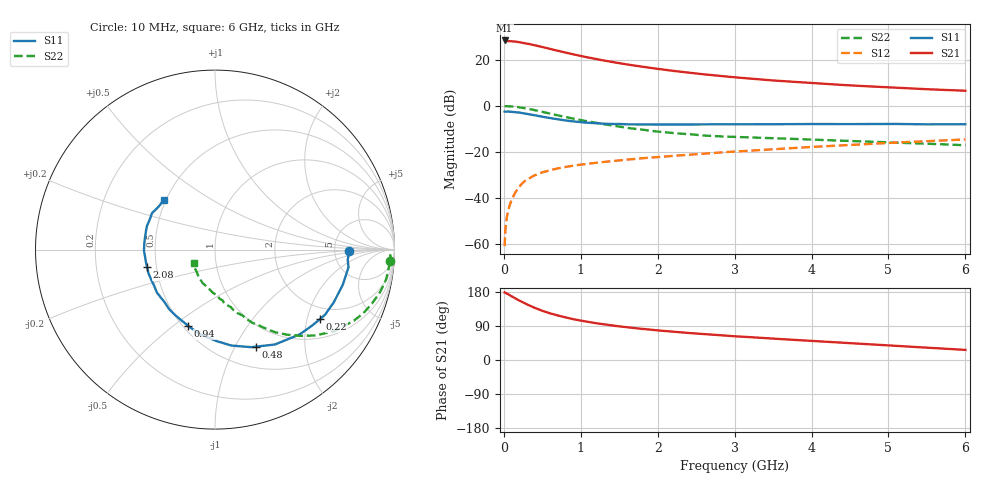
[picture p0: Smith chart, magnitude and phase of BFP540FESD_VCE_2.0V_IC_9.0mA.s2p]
! Infineon Technologies  Discrete & RF Semiconductors
! BFP540FESD
! VCE =  2.0 V,  IC =  9.0 mA
! Common Emitter S-Parameters:  Nov 2015
# GHz  S  MA  R  50
!  f  S11  S21  S12  S22
! GHz  MAG  ANG  MAG  ANG  MAG  ANG  MAG  ANG
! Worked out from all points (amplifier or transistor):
!   210 points, 10 MHz to 6 GHz, reference 50 ohm
!   highest |S21| = 28.3 dB at 10 MHz (marker M1)
!   |S21| within 3 dB of that: start of sweep to 521 MHz
!   unconditionally stable (mu >= 1): 2.267 GHz to end of sweep
!   at 185 MHz: K = 0.14, MSG = 31.8 dB, |S12| = -35.9 dB
!   at 1.52 GHz: K = 0.81, MSG = 21.0 dB, |S12| = -23.6 dB
!   at 6 GHz: K = 1.23, MAG = 7.7 dB, |S12| = -14.6 dB
!   S11 on the Smith chart (normalised r, x): 10 MHz: 6.91, -0.33; 220 MHz: 1.58, -2.41; 480 MHz: 0.74, -1.22; 940 MHz: 0.53, -0.57; 2.08 GHz: 0.44, -0.10; 6 GHz: 0.49, +0.32
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0.01  0.7477 -0.8  26.06 178.3  0.0009 98.2  0.9792 -3.7
0.02  0.7415 -4.4  25.36 177.6  0.002 85.2  0.9769 -1.8
0.05  0.7502 -7.5  25.36 174.2  0.0048 83.3  0.9759 -4.8
0.15  0.7241 -23.9  24.71 162.7  0.0132 79.2  0.9501 -14.4
0.22  0.7017 -33.4  23.63 154.9  0.0191 74.7  0.9143 -20.6
0.3  0.6678 -45.0  22.43 146.7  0.0248 70.3  0.8691 -27.1
0.4  0.6254 -57.7  20.61 137.7  0.0309 65.0  0.8052 -34.3
0.48  0.587 -67.1  19.16 131.5  0.0349 61.7  0.7496 -39.2
0.6  0.5423 -80.3  17.07 123.1  0.0399 58.6  0.6748 -45.4
0.7  0.5096 -89.1  15.6 117.5  0.0438 55.8  0.6218 -49.7
0.8  0.4804 -99.3  14.25 112.2  0.047 54.2  0.5699 -53.9
0.94  0.4502 -109.4  12.62 106.3  0.0513 52.8  0.5115 -58.1
1.02  0.437 -115.1  11.81 103.2  0.0534 52.4  0.4822 -60.4
1.2  0.4185 -127.6  10.27 97.0  0.0583 50.6  0.4257 -65.5
1.4  0.4025 -138.2  8.96 91.3  0.0629 49.7  0.3743 -70.6
2.02  0.3914 -164.1  6.247 77.7  0.0774 48.4  0.2731 -84.8
2.08  0.3911 -165.5  6.068 76.8  0.0789 48.4  0.2667 -85.8
2.6  0.396 -178.8  4.801 68.3  0.0912 47.6  0.2255 -97.4
3.1  0.3957 172.1  4.015 61.5  0.1036 46.3  0.208 -104.5
4.1  0.4007 159.8  3.032 49.2  0.1304 43.0  0.1818 -117.9
5.1  0.4029 148.5  2.462 37.3  0.1592 37.4  0.1584 -131.3
6  0.3967 136.0  2.115 26.7  0.1857 31.4  0.139 -148.7
